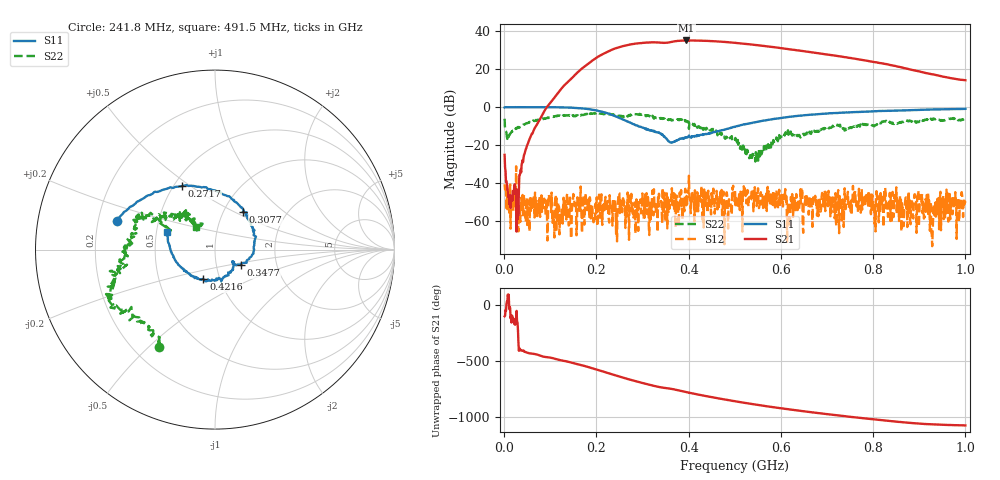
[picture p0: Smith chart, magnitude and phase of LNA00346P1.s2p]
! Created with skrf 1.9.0 (http://scikit-rf.org).
# Hz S RI R 50.0
!freq ReS11 ImS11 ReS21 ImS21 ReS12 ImS12 ReS22 ImS22
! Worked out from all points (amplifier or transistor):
!   1001 points, 1 MHz to 1 GHz, reference 50 ohm
!   highest |S21| = 35.0 dB at 394.6 MHz (marker M1)
!   |S21| within 3 dB of that: 257.1 MHz to 567.9 MHz (310.8 MHz wide, 75.4 % of centre)
!   unconditionally stable (mu >= 1): 229.1 MHz to 321.6 MHz; 321.7 MHz to 400.3 MHz; 400.8 MHz to end of sweep (the widest 3 of 25)
!   at 166.8 MHz: K = 2.02, MAG = 29.8 dB, |S12| = -51.3 dB
!   at 500.5 MHz: K = 1.56, MAG = 34.3 dB, |S12| = -43.6 dB
!   at 1 GHz: K = 4.17, MAG = 23.1 dB, |S12| = -50.3 dB
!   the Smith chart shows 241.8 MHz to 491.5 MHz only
!   S11 on the Smith chart (normalised r, x): 241.8 MHz: 0.28, +0.13; 271.7 MHz: 0.55, +0.46; 307.7 MHz: 1.23, +0.55; 347.7 MHz: 1.32, -0.23; 421.6 MHz: 0.83, -0.28; 491.5 MHz: 0.57, +0.12
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1000000  0.9773 0.00464  -0.00719 -0.0553  -0.00639 0.00691  0.3247 0.3746
1.08892e8  0.5062 -0.8548  -0.8417 -1.561  -0.000162 0.000339  0.4288 -0.3731
1.67833e8  -0.2615 -0.8915  -10.13 -0.4187  -0.000334 0.00109  0.0419 -0.6321
2.08792e8  -0.6784 -0.3749  -15.62 16.87  -0.00102 -0.00367  -0.1886 -0.6512
2.41759e8  -0.5454 0.1581  -0.1999 35.14  0.000674 -0.00162  -0.3139 -0.5441
2.71729e8  -0.1835 0.3536  26.12 35.18  -0.00191 0.000652  -0.4876 -0.3308
3.07693e8  0.1539 0.2092  48.15 11.95  -0.0013 -0.0047  -0.5739 -0.2303
3.34666e8  0.2138 -0.0137  48.74 -11.01  -0.000434 0.00238  -0.5325 -0.0675
3.47653e8  0.1463 -0.0864  45.17 -18.71  0.000449 0.0056  -0.4978 -0.015
3.7063e8  0.1018 -0.0722  42.78 -33.06  0.000553 0.00133  -0.4394 0.1658
3.94606e8  0.0591 -0.1459  28.25 -48.93  0.00255 0.000676  -0.3888 0.1688
4.21579e8  -0.0645 -0.1651  6.889 -55.31  0.00419 0.00104  -0.2552 0.1862
4.53547e8  -0.2024 -0.086  -16.83 -51.23  0.00394 0.00604  -0.1766 0.1839
4.91509e8  -0.2652 0.0978  -36.09 -34.56  -0.00159 -0.00176  -0.1053 0.1273
5.005e8  -0.2629 0.1503  -39.04 -29.86  0.00319 -0.00577  -0.0973 0.0995
5.39461e8  -0.1842 0.3454  -42.94 -8.461  0.00469 -0.00174  -0.0531 0.00638
5.85415e8  0.0126 0.489  -35.96 11.17  0.00134 -0.00225  -0.105 -0.0615
6.25375e8  0.2074 0.5313  -24.74 20.63  0.00351 -0.000333  -0.1483 -0.115
6.67333e8  0.4086 0.4922  -12.77 24.21  -7.64e-05 -0.00234  -0.2202 -0.064
7.53247e8  0.6827 0.2756  4.686 18.71  0.00107 -0.00097  -0.2831 0.00185
8.34166e8  0.8005 0.0116  9.996 8.397  -0.00171 0.00043  -0.4163 0.0212
1e9  0.7303 -0.5301  5.09 -0.0258  -0.00101 0.0029  -0.3085 0.3669
